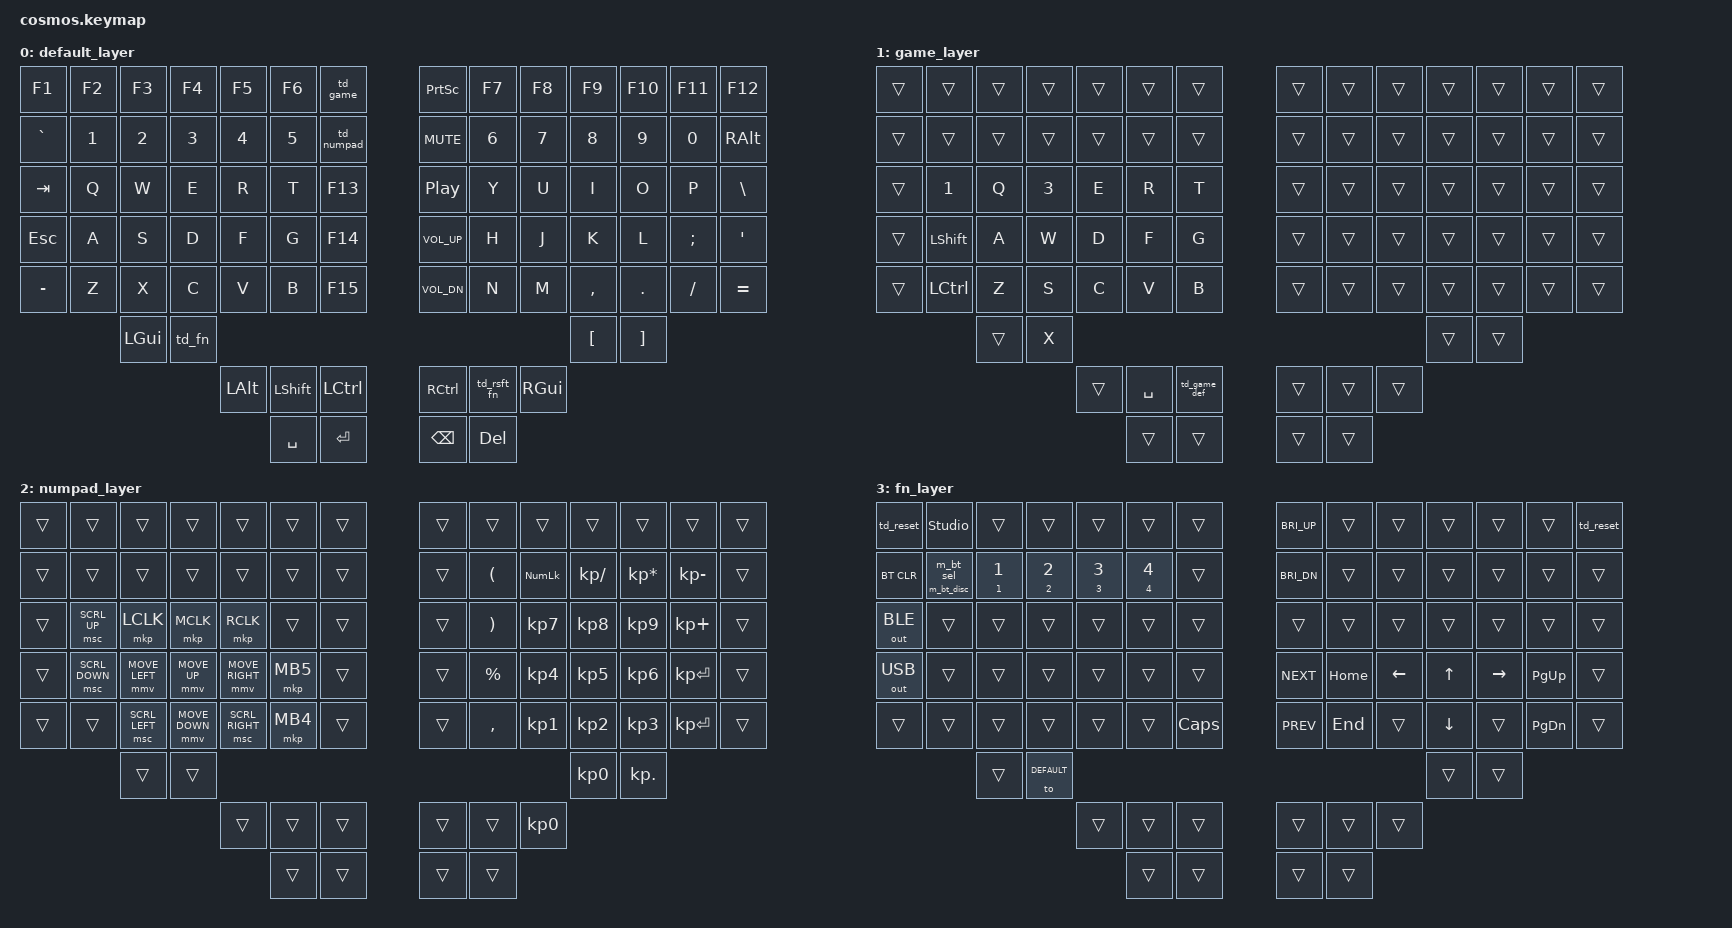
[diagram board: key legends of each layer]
#include <behaviors.dtsi>
#include <dt-bindings/zmk/keys.h>
#include <dt-bindings/zmk/bt.h>
#include <dt-bindings/zmk/outputs.h>
#include <dt-bindings/zmk/pointing.h>
#include <dt-bindings/zmk/behaviors.h>

#define DEFAULT 0
#define GAME 1
#define NUMPAD 2
#define FN 3

/ {
    behaviors {
        // This tap-dance makes it that a key on the first press makes the
        //  keyboard restart, but by tapping it 5 times (to its hard to do by
        //  mistake) it goes into the bootloader mode.
        td_reset: tap-dance-reset-bootloader {
            compatible = "zmk,behavior-tap-dance";
            #binding-cells = <0>;
            tapping-term-ms = <1000>;
            bindings = <&sys_reset>, <&none>, <&none>, <&none>, <&bootloader>;
        };


        // This tap-dance temporarily moves to the fn layer on hold, and
        //  permanently moves on triple tap. Pressing it once while in the fn
        //  layer exits it.
        // I didn't use mod-tap, because I didn't want an accidental single
        //  press to go to the fn layer.
        td_fn: tap-dance-fn {
            compatible = "zmk,behavior-tap-dance";
            #binding-cells = <0>;
            tapping-term-ms = <1000>;
            bindings = <&mo FN>, <&none>, <&tog FN>;
        };

        // These tap-dances go to the default layer on the first press, but go
        //  to another layer on double tap.
        td_game: tap-dance-game {
            compatible = "zmk,behavior-tap-dance";
            #binding-cells = <0>;
            tapping-term-ms = <1000>;
            bindings = <&to DEFAULT>, <&to GAME>;
        };
        td_numpad: tap-dance-numpad {
            compatible = "zmk,behavior-tap-dance";
            #binding-cells = <0>;
            tapping-term-ms = <1000>;
            bindings = <&to DEFAULT>, <&to NUMPAD>;
        };

        // This macro and tap-dance make it so that in the game layer, I can
        //  temporarily go to the default layer by holding a key, or
        //  permanently by double tapping it.
        m_game_def: macro-game-mo-default {
            compatible = "zmk,behavior-macro";
            #binding-cells = <0>;
            bindings = <&macro_press &to DEFAULT>, <&macro_pause_for_release>, <&macro_release &to DEFAULT>, <&macro_tap &to GAME>;
        };
        td_game_def: tap-dance-game-mo-default {
            compatible = "zmk,behavior-tap-dance";
            #binding-cells = <0>;
            tapping-term-ms = <200>;
            bindings = <&m_game_def>, <&to DEFAULT>;
        };

        // This tap-dance is so that a key on first press/hold sends right
        //  shift, but on double tap/tap and hold it moves to the fn layer
        //  while the key is held.
        td_rsft_fn: tap-dance-shift-fn {
            compatible = "zmk,behavior-tap-dance";
            #binding-cells = <0>;
            tapping-term-ms = <1000>;
            bindings = <&kp RSHFT>, <&mo FN>;
        };

        // This mod-tap selects a bluetooth device on tap, but disconnects it
        //  on hold for 3s.
        // I have to use macros because hold-tap doesn't accept bindings with
        //  parameters.
        m_bt_disc: macro-bluetooth-disconnect {
            compatible = "zmk,behavior-macro-one-param";
            #binding-cells = <1>;
            bindings = <&macro_param_1to2>, <&macro_tap &bt BT_DISC MACRO_PLACEHOLDER>;
        };
        m_bt_sel: macro-bluetooth-select {
            compatible = "zmk,behavior-macro-one-param";
            #binding-cells = <1>;
            bindings = <&macro_param_1to2>, <&macro_tap &bt BT_SEL MACRO_PLACEHOLDER>;
        };
        mt_bt: mod-tap-bluetooth {
            compatible = "zmk,behavior-hold-tap";
            #binding-cells = <2>;
            flavor = "tap-preferred";
            tapping-term-ms = <3000>;
            bindings = <&m_bt_disc>, <&m_bt_sel>;
        };
    };

    keymap {
        compatible = "zmk,keymap";

        default_layer {
            bindings = <
//        ┌─────┬────┬──────┬────────┬──────┬──────┬────────────┐   ┌──────┬─────────────┬──────┬────┬─────┬─────┬──────┐
//        │ f1  │ f2 │  f3  │   f4   │  f5  │  f6  │  &td_game  │   │ pscr │     f7      │  f8  │ f9 │ f10 │ f11 │ f12  │
//        ├─────┼────┼──────┼────────┼──────┼──────┼────────────┤   ├──────┼─────────────┼──────┼────┼─────┼─────┼──────┤
//        │  `  │ 1  │  2   │   3    │  4   │  5   │ &td_numpad │   │ mute │      6      │  7   │ 8  │  9  │  0  │ ralt │
//        ├─────┼────┼──────┼────────┼──────┼──────┼────────────┤   ├──────┼─────────────┼──────┼────┼─────┼─────┼──────┤
//        │ tab │ Q  │  W   │   E    │  R   │  T   │    f13     │   │ play │      Y      │  U   │ I  │  O  │  P  │  \   │
//        ├─────┼────┼──────┼────────┼──────┼──────┼────────────┤   ├──────┼─────────────┼──────┼────┼─────┼─────┼──────┤
//        │ esc │ A  │  S   │   D    │  F   │  G   │    f14     │   │ volu │      H      │  J   │ K  │  L  │  ;  │  '   │
//        ├─────┼────┼──────┼────────┼──────┼──────┼────────────┤   ├──────┼─────────────┼──────┼────┼─────┼─────┼──────┤
//        │  -  │ Z  │  X   │   C    │  V   │  B   │    f15     │   │ vold │      N      │  M   │ ,  │  .  │  /  │  =   │
//        └─────┴────┼──────┼────────┼──────┴──────┴────────────┘   └──────┴─────────────┴──────┼────┼─────┼─────┴──────┘
//                   │ lgui │ &td_fn │                                                          │ [  │  ]  │
//                   └──────┴────────┼──────┬──────┬────────────┐   ┌──────┬─────────────┬──────┼────┴─────┘
//                                   │ lalt │ lsft │    lctl    │   │ rctl │ &td_rsft_fn │ rgui │
//                                   └──────┼──────┼────────────┤   ├──────┼─────────────┼──────┘
//                                          │ spc  │    ent     │   │ bspc │     del     │
//                                          └──────┴────────────┘   └──────┴─────────────┘
      &kp F1      &kp F2   &kp F3     &kp F4   &kp F5     &kp F6      &td_game         &kp PSCRN      &kp F7        &kp F8     &kp F9      &kp F10    &kp F11    &kp F12
      &kp GRAVE   &kp N1   &kp N2     &kp N3   &kp N4     &kp N5      &td_numpad       &kp C_MUTE     &kp N6        &kp N7     &kp N8      &kp N9     &kp N0     &kp RALT
      &kp TAB     &kp Q    &kp W      &kp E    &kp R      &kp T       &kp F13          &kp C_PP       &kp Y         &kp U      &kp I       &kp O      &kp P      &kp BSLH
      &kp ESC     &kp A    &kp S      &kp D    &kp F      &kp G       &kp F14          &kp C_VOL_UP   &kp H         &kp J      &kp K       &kp L      &kp SEMI   &kp SQT
      &kp MINUS   &kp Z    &kp X      &kp C    &kp V      &kp B       &kp F15          &kp C_VOL_DN   &kp N         &kp M      &kp COMMA   &kp DOT    &kp FSLH   &kp EQUAL
                           &kp LGUI   &td_fn                                                                                   &kp LBKT    &kp RBKT
                                               &kp LALT   &kp LSHFT   &kp LCTRL        &kp RCTRL      &td_rsft_fn   &kp RGUI
                                                          &kp SPACE   &kp ENTER        &kp BSPC       &kp DEL
            >;
        };

        game_layer {
            bindings = <
//        ┌─────┬──────┬─────┬─────┬─────┬─────┬──────────────┐   ┌─────┬─────┬─────┬─────┬─────┬─────┬─────┐
//        │     │      │     │     │     │     │              │   │     │     │     │     │     │     │     │
//        ├─────┼──────┼─────┼─────┼─────┼─────┼──────────────┤   ├─────┼─────┼─────┼─────┼─────┼─────┼─────┤
//        │     │      │     │     │     │     │              │   │     │     │     │     │     │     │     │
//        ├─────┼──────┼─────┼─────┼─────┼─────┼──────────────┤   ├─────┼─────┼─────┼─────┼─────┼─────┼─────┤
//        │     │  1   │  Q  │  3  │  E  │  R  │      T       │   │     │     │     │     │     │     │     │
//        ├─────┼──────┼─────┼─────┼─────┼─────┼──────────────┤   ├─────┼─────┼─────┼─────┼─────┼─────┼─────┤
//        │     │ lsft │  A  │  W  │  D  │  F  │      G       │   │     │     │     │     │     │     │     │
//        ├─────┼──────┼─────┼─────┼─────┼─────┼──────────────┤   ├─────┼─────┼─────┼─────┼─────┼─────┼─────┤
//        │     │ lctl │  Z  │  S  │  C  │  V  │      B       │   │     │     │     │     │     │     │     │
//        └─────┴──────┼─────┼─────┼─────┴─────┴──────────────┘   └─────┴─────┴─────┼─────┼─────┼─────┴─────┘
//                     │     │  X  │                                                │     │     │
//                     └─────┴─────┼─────┬─────┬──────────────┐   ┌─────┬─────┬─────┼─────┴─────┘
//                                 │     │ spc │ &td_game_def │   │     │     │     │
//                                 └─────┼─────┼──────────────┤   ├─────┼─────┼─────┘
//                                       │     │              │   │     │     │
//                                       └─────┴──────────────┘   └─────┴─────┘
      &trans   &trans      &trans   &trans   &trans   &trans      &trans             &trans   &trans   &trans   &trans   &trans   &trans   &trans
      &trans   &trans      &trans   &trans   &trans   &trans      &trans             &trans   &trans   &trans   &trans   &trans   &trans   &trans
      &trans   &kp N1      &kp Q    &kp N3   &kp E    &kp R       &kp T              &trans   &trans   &trans   &trans   &trans   &trans   &trans
      &trans   &kp LSHFT   &kp A    &kp W    &kp D    &kp F       &kp G              &trans   &trans   &trans   &trans   &trans   &trans   &trans
      &trans   &kp LCTRL   &kp Z    &kp S    &kp C    &kp V       &kp B              &trans   &trans   &trans   &trans   &trans   &trans   &trans
                           &trans   &kp X                                                                       &trans   &trans
                                             &trans   &kp SPACE   &td_game_def       &trans   &trans   &trans
                                                      &trans      &trans             &trans   &trans
            >;
        };

        numpad_layer {
            bindings = <
//        ┌─────┬────────────────┬────────────────┬────────────────┬────────────────┬──────┬─────┐   ┌─────┬─────┬──────┬──────┬──────┬──────┬─────┐
//        │     │                │                │                │                │      │     │   │     │     │      │      │      │      │     │
//        ├─────┼────────────────┼────────────────┼────────────────┼────────────────┼──────┼─────┤   ├─────┼─────┼──────┼──────┼──────┼──────┼─────┤
//        │     │                │                │                │                │      │     │   │     │  (  │ nlck │ kp_/ │ kp_* │ kp_- │     │
//        ├─────┼────────────────┼────────────────┼────────────────┼────────────────┼──────┼─────┤   ├─────┼─────┼──────┼──────┼──────┼──────┼─────┤
//        │     │  &msc SCRL_up  │      lclk      │      mclk      │      rclk      │      │     │   │     │  )  │  7   │  8   │  9   │ kp_+ │     │
//        ├─────┼────────────────┼────────────────┼────────────────┼────────────────┼──────┼─────┤   ├─────┼─────┼──────┼──────┼──────┼──────┼─────┤
//        │     │ &msc SCRL_down │ &mmv MOVE_left │  &mmv MOVE_up  │ &mmv MOVE_rght │ mfwd │     │   │     │  %  │  4   │  5   │  6   │ ent  │     │
//        ├─────┼────────────────┼────────────────┼────────────────┼────────────────┼──────┼─────┤   ├─────┼─────┼──────┼──────┼──────┼──────┼─────┤
//        │     │                │ &msc SCRL_left │ &mmv MOVE_down │ &msc SCRL_rght │ mbck │     │   │     │  ,  │  1   │  2   │  3   │ ent  │     │
//        └─────┴────────────────┼────────────────┼────────────────┼────────────────┴──────┴─────┘   └─────┴─────┴──────┼──────┼──────┼──────┴─────┘
//                               │                │                │                                                    │  0   │ kp_. │
//                               └────────────────┴────────────────┼────────────────┬──────┬─────┐   ┌─────┬─────┬──────┼──────┴──────┘
//                                                                 │                │      │     │   │     │     │  0   │
//                                                                 └────────────────┼──────┼─────┤   ├─────┼─────┼──────┘
//                                                                                  │      │     │   │     │     │
//                                                                                  └──────┴─────┘   └─────┴─────┘
      &trans   &trans           &trans           &trans           &trans            &trans     &trans       &trans   &trans      &trans        &trans          &trans            &trans         &trans
      &trans   &trans           &trans           &trans           &trans            &trans     &trans       &trans   &kp LPAR    &kp KP_NLCK   &kp KP_DIVIDE   &kp KP_MULTIPLY   &kp KP_MINUS   &trans
      &trans   &msc SCRL_UP     &mkp LCLK        &mkp MCLK        &mkp RCLK         &trans     &trans       &trans   &kp RPAR    &kp KP_N7     &kp KP_N8       &kp KP_N9         &kp KP_PLUS    &trans
      &trans   &msc SCRL_DOWN   &mmv MOVE_LEFT   &mmv MOVE_UP     &mmv MOVE_RIGHT   &mkp MB5   &trans       &trans   &kp PRCNT   &kp KP_N4     &kp KP_N5       &kp KP_N6         &kp KP_ENTER   &trans
      &trans   &trans           &msc SCRL_LEFT   &mmv MOVE_DOWN   &msc SCRL_RIGHT   &mkp MB4   &trans       &trans   &kp COMMA   &kp KP_N1     &kp KP_N2       &kp KP_N3         &kp KP_ENTER   &trans
                                &trans           &trans                                                                                        &kp KP_N0       &kp KP_DOT
                                                                  &trans            &trans     &trans       &trans   &trans      &kp KP_N0
                                                                                    &trans     &trans       &trans   &trans
            >;
        };

        fn_layer {
            bindings = <
//        ┌───────────┬────────────────┬───────────┬─────────────┬───────────┬───────────┬──────┐   ┌──────┬──────┬──────┬──────┬──────┬──────┬───────────┐
//        │ &td_reset │ &studio_unlock │           │             │           │           │      │   │ bri+ │      │      │      │      │      │ &td_reset │
//        ├───────────┼────────────────┼───────────┼─────────────┼───────────┼───────────┼──────┤   ├──────┼──────┼──────┼──────┼──────┼──────┼───────────┤
//        │  bt_clr   │   mt_bt 0 0    │ mt_bt 1 1 │  mt_bt 2 2  │ mt_bt 3 3 │ mt_bt 4 4 │      │   │ bri- │      │      │      │      │      │           │
//        ├───────────┼────────────────┼───────────┼─────────────┼───────────┼───────────┼──────┤   ├──────┼──────┼──────┼──────┼──────┼──────┼───────────┤
//        │ out_ ble  │                │           │             │           │           │      │   │      │      │      │      │      │      │           │
//        ├───────────┼────────────────┼───────────┼─────────────┼───────────┼───────────┼──────┤   ├──────┼──────┼──────┼──────┼──────┼──────┼───────────┤
//        │ out_ usb  │                │           │             │           │           │      │   │ next │ home │ left │  up  │ rght │ pgup │           │
//        ├───────────┼────────────────┼───────────┼─────────────┼───────────┼───────────┼──────┤   ├──────┼──────┼──────┼──────┼──────┼──────┼───────────┤
//        │           │                │           │             │           │           │ caps │   │ prev │ end  │      │ down │      │ pgdn │           │
//        └───────────┴────────────────┼───────────┼─────────────┼───────────┴───────────┴──────┘   └──────┴──────┴──────┼──────┼──────┼──────┴───────────┘
//                                     │           │ &to DEFAULT │                                                       │      │      │
//                                     └───────────┴─────────────┼───────────┬───────────┬──────┐   ┌──────┬──────┬──────┼──────┴──────┘
//                                                               │           │           │      │   │      │      │      │
//                                                               └───────────┼───────────┼──────┤   ├──────┼──────┼──────┘
//                                                                           │           │      │   │      │      │
//                                                                           └───────────┴──────┘   └──────┴──────┘
      &td_reset      &studio_unlock   &trans       &trans       &trans       &trans       &trans             &kp C_BRI_UP   &trans     &trans     &trans     &trans      &trans      &td_reset
      &bt BT_CLR     &mt_bt 0 0       &mt_bt 1 1   &mt_bt 2 2   &mt_bt 3 3   &mt_bt 4 4   &trans             &kp C_BRI_DN   &trans     &trans     &trans     &trans      &trans      &trans
      &out OUT_BLE   &trans           &trans       &trans       &trans       &trans       &trans             &trans         &trans     &trans     &trans     &trans      &trans      &trans
      &out OUT_USB   &trans           &trans       &trans       &trans       &trans       &trans             &kp C_NEXT     &kp HOME   &kp LEFT   &kp UP     &kp RIGHT   &kp PG_UP   &trans
      &trans         &trans           &trans       &trans       &trans       &trans       &kp CAPSLOCK       &kp C_PREV     &kp END    &trans     &kp DOWN   &trans      &kp PG_DN   &trans
                                      &trans       &to DEFAULT                                                                                    &trans     &trans
                                                                &trans       &trans       &trans             &trans         &trans     &trans
                                                                             &trans       &trans             &trans         &trans
            >;
        };
    };
 };
